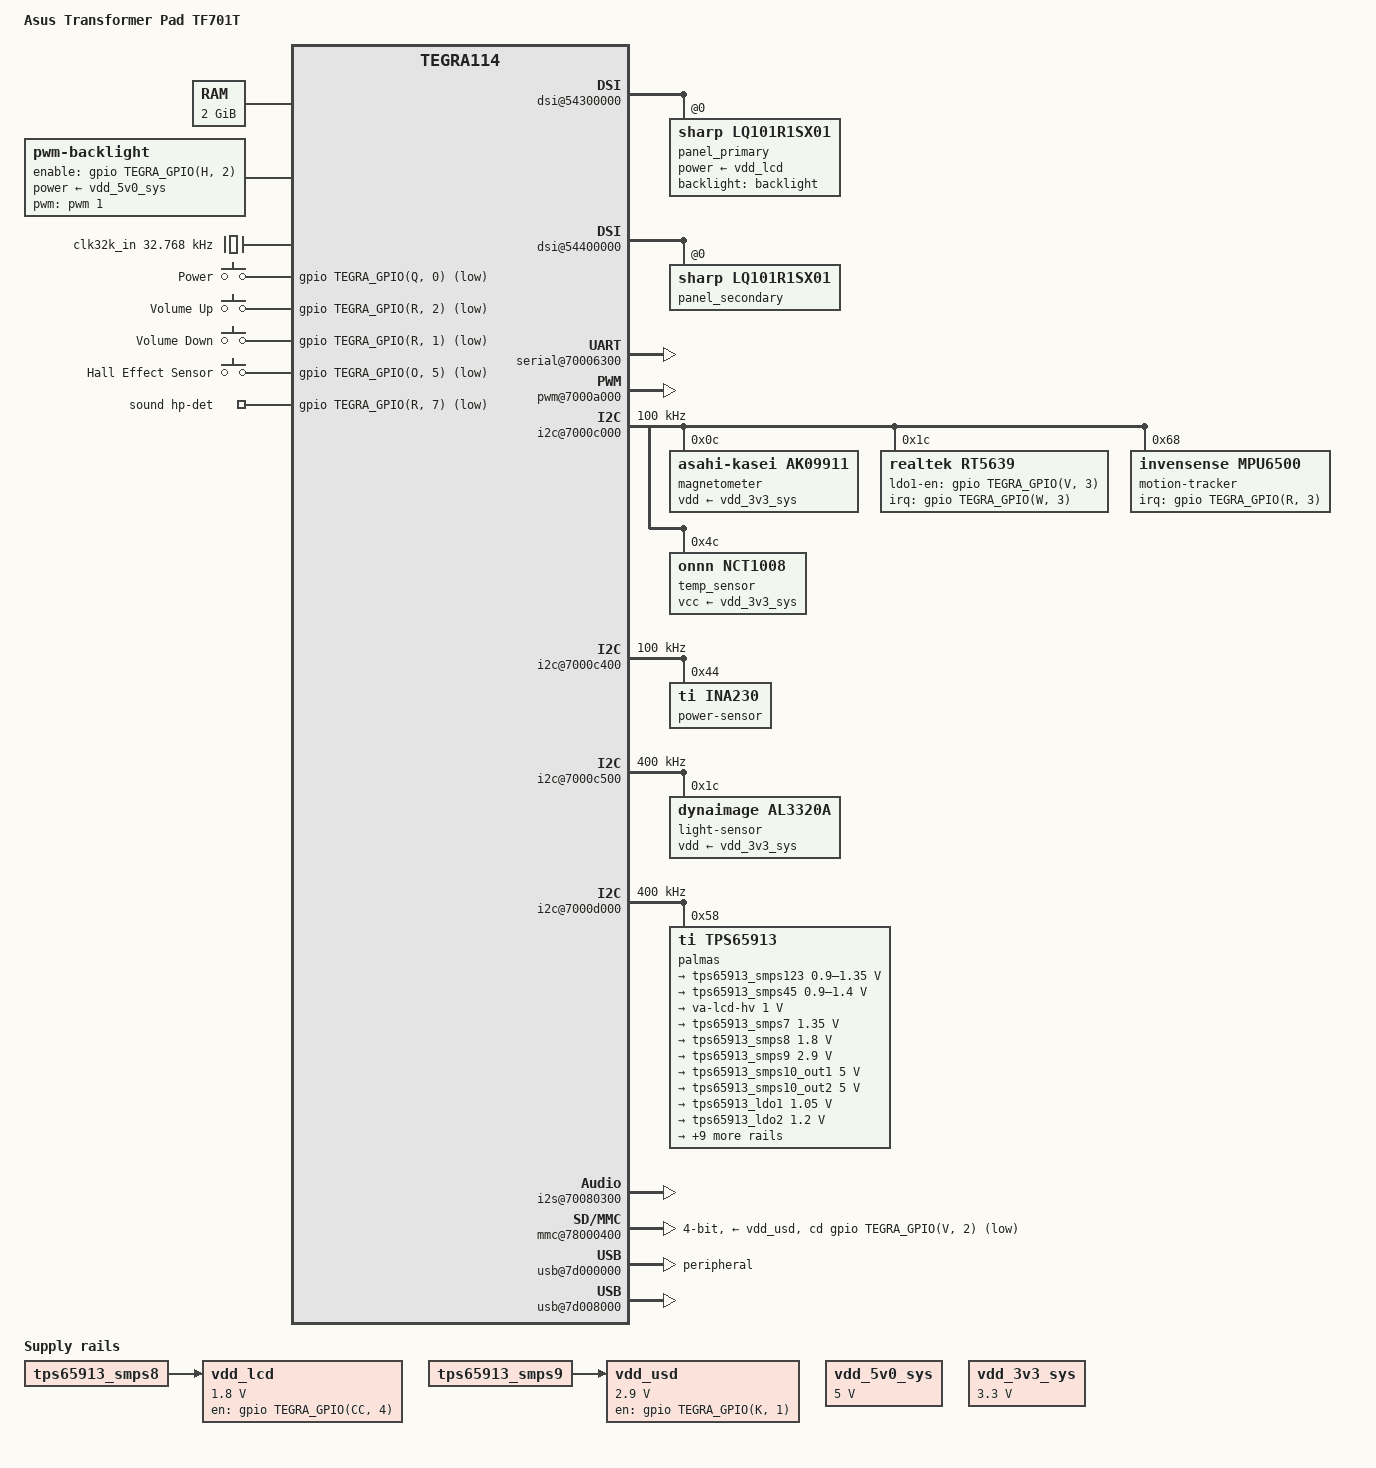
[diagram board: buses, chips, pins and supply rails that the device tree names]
// SPDX-License-Identifier: GPL-2.0

/dts-v1/;

#include <dt-bindings/input/gpio-keys.h>
#include <dt-bindings/input/input.h>

#include "tegra114.dtsi"

/ {
	model = "Asus Transformer Pad TF701T";
	compatible = "asus,tf701t", "nvidia,tegra114";
	chassis-type = "convertible";

	aliases {
		mmc0 = "/mmc@78000600"; /* eMMC */
		mmc1 = "/mmc@78000400"; /* uSD slot */
		mmc2 = "/mmc@78000000"; /* WiFi */

		rtc0 = &palmas;
		rtc1 = "/rtc@7000e000";

		serial0 = &uartd; /* Console */
		serial1 = &uartc; /* Bluetooth */
		serial2 = &uartb; /* GPS */
	};

	memory@80000000 {
		reg = <0x80000000 0x80000000>;
	};

	reserved-memory {
		#address-cells = <1>;
		#size-cells = <1>;
		ranges;

		linux,cma@80000000 {
			compatible = "shared-dma-pool";
			alloc-ranges = <0x80000000 0x30000000>;
			size = <0x10000000>;
			linux,cma-default;
			reusable;
		};

		trustzone@bfe00000 {
			reg = <0xbfe00000 0x200000>;
			no-map;
		};
	};

	host1x@50000000 {
		dsi@54300000 {
			status = "okay";

			avdd-dsi-csi-supply = <&tps65913_ldo2>;

			nvidia,ganged-mode = <&dsib>;

			panel_primary: panel@0 {
				compatible = "sharp,lq101r1sx01";
				reg = <0>;

				link2 = <&panel_secondary>;

				power-supply = <&vdd_lcd>;
				backlight = <&backlight>;
			};
		};

		dsi@54400000 {
			status = "okay";

			avdd-dsi-csi-supply = <&tps65913_ldo2>;

			panel_secondary: panel@0 {
				compatible = "sharp,lq101r1sx01";
				reg = <0>;
			};
		};
	};

	pinmux@70000868 {
		asus_pad_ec_default: asus-pad-ec-default {
			ec-interrupt {
				nvidia,pins = "kb_col5_pq5";
				nvidia,function = "kbc";
				nvidia,pull = <TEGRA_PIN_PULL_UP>;
				nvidia,tristate = <TEGRA_PIN_DISABLE>;
				nvidia,enable-input = <TEGRA_PIN_ENABLE>;
			};

			ec-request {
				nvidia,pins = "kb_col2_pq2";
				nvidia,function = "kbc";
				nvidia,pull = <TEGRA_PIN_PULL_NONE>;
				nvidia,tristate = <TEGRA_PIN_DISABLE>;
				nvidia,enable-input = <TEGRA_PIN_DISABLE>;
			};
		};

		backlight_default: backlight-default {
			backlight-enable {
				nvidia,pins = "gmi_ad10_ph2";
				nvidia,function = "gmi";
				nvidia,pull = <TEGRA_PIN_PULL_NONE>;
				nvidia,tristate = <TEGRA_PIN_DISABLE>;
				nvidia,enable-input = <TEGRA_PIN_DISABLE>;
			};
		};

		codec_default: codec-default {
			ldo1-en {
				nvidia,pins = "sdmmc1_wp_n_pv3";
				nvidia,function = "sdmmc1";
				nvidia,pull = <TEGRA_PIN_PULL_NONE>;
				nvidia,tristate = <TEGRA_PIN_DISABLE>;
				nvidia,enable-input = <TEGRA_PIN_DISABLE>;
			};

			interrupt {
				nvidia,pins = "gpio_w2_aud_pw2",
						"gpio_w3_aud_pw3";
				nvidia,function = "spi6";
				nvidia,pull = <TEGRA_PIN_PULL_UP>;
				nvidia,tristate = <TEGRA_PIN_DISABLE>;
				nvidia,enable-input = <TEGRA_PIN_ENABLE>;
			};
		};

		gpio_keys_default: gpio-keys-default {
			power {
				nvidia,pins = "kb_col0_pq0";
				nvidia,function = "kbc";
				nvidia,pull = <TEGRA_PIN_PULL_UP>;
				nvidia,tristate = <TEGRA_PIN_ENABLE>;
				nvidia,enable-input = <TEGRA_PIN_ENABLE>;
			};

			volume {
				nvidia,pins = "kb_row1_pr1",
						"kb_row2_pr2";
				nvidia,function = "rsvd2";
				nvidia,pull = <TEGRA_PIN_PULL_UP>;
				nvidia,tristate = <TEGRA_PIN_ENABLE>;
				nvidia,enable-input = <TEGRA_PIN_ENABLE>;
			};
		};

		gpio_hall_sensor_default: gpio-hall-sensor-default {
			ulpi_data4_po5 {
				nvidia,pins = "ulpi_data4_po5";
				nvidia,function = "spi2";
				nvidia,pull = <TEGRA_PIN_PULL_UP>;
				nvidia,tristate = <TEGRA_PIN_DISABLE>;
				nvidia,enable-input = <TEGRA_PIN_ENABLE>;
			};
		};

		hp_det_default: hp-det-default {
			gmi_iordy_pi5 {
				nvidia,pins = "kb_row7_pr7";
				nvidia,function = "rsvd2";
				nvidia,pull = <TEGRA_PIN_PULL_UP>;
				nvidia,tristate = <TEGRA_PIN_DISABLE>;
				nvidia,enable-input = <TEGRA_PIN_ENABLE>;
			};
		};

		imu_default: imu-default {
			kb_row3_pr3 {
				nvidia,pins = "kb_row3_pr3";
				nvidia,function = "rsvd3";
				nvidia,pull = <TEGRA_PIN_PULL_DOWN>;
				nvidia,tristate = <TEGRA_PIN_DISABLE>;
				nvidia,enable-input = <TEGRA_PIN_ENABLE>;
			};
		};

		pwm_default: pwm-default {
			gmi_ad9_ph1 {
				nvidia,pins = "gmi_ad9_ph1";
				nvidia,function = "pwm1";
				nvidia,pull = <TEGRA_PIN_PULL_NONE>;
				nvidia,tristate = <TEGRA_PIN_DISABLE>;
				nvidia,enable-input = <TEGRA_PIN_DISABLE>;
			};
		};

		/* XXX make this something more sensible */
		pwm_sleep: pwm-sleep {
			gmi_ad9_ph1 {
				nvidia,pins = "gmi_ad9_ph1";
				nvidia,function = "pwm1";
				nvidia,pull = <TEGRA_PIN_PULL_NONE>;
				nvidia,tristate = <TEGRA_PIN_DISABLE>;
				nvidia,enable-input = <TEGRA_PIN_DISABLE>;
			};
		};

		sdmmc3_default: sdmmc3-default {
			sdmmc3_clk_pa6 {
				nvidia,pins = "sdmmc3_clk_pa6";
				nvidia,function = "sdmmc3";
				nvidia,pull = <TEGRA_PIN_PULL_NONE>;
				nvidia,tristate = <TEGRA_PIN_DISABLE>;
				nvidia,enable-input = <TEGRA_PIN_ENABLE>;
			};

			sdmmc3_cmd_pa7 {
				nvidia,pins = "sdmmc3_cmd_pa7",
						"sdmmc3_dat0_pb7",
						"sdmmc3_dat1_pb6",
						"sdmmc3_dat2_pb5",
						"sdmmc3_dat3_pb4",
						"kb_col4_pq4",
						"sdmmc3_clk_lb_out_pee4",
						"sdmmc3_clk_lb_in_pee5",
						"sdmmc3_cd_n_pv2";
				nvidia,function = "sdmmc3";
				nvidia,pull = <TEGRA_PIN_PULL_UP>;
				nvidia,tristate = <TEGRA_PIN_DISABLE>;
				nvidia,enable-input = <TEGRA_PIN_ENABLE>;
			};

			drive_sdio3 {
				nvidia,pins = "drive_sdio3";
				nvidia,high-speed-mode = <TEGRA_PIN_ENABLE>;
				nvidia,schmitt = <TEGRA_PIN_DISABLE>;
				nvidia,pull-down-strength = <22>;
				nvidia,pull-up-strength = <36>;
				nvidia,slew-rate-rising = <TEGRA_PIN_SLEW_RATE_FASTEST>;
				nvidia,slew-rate-falling = <TEGRA_PIN_SLEW_RATE_FASTEST>;
			};
		};

		sdmmc3_vdd_default: sdmmc3-vdd-default {
			gmi_clk_pk1 {
				nvidia,pins = "gmi_clk_pk1";
				nvidia,function = "gmi";
				nvidia,pull = <TEGRA_PIN_PULL_NONE>;
				nvidia,tristate = <TEGRA_PIN_DISABLE>;
				nvidia,enable-input = <TEGRA_PIN_DISABLE>;
			};
		};

		vdd_lcd_default: vdd-lcd-default {
			sdmmc4_clk_pcc4 {
				nvidia,pins = "sdmmc4_clk_pcc4";
				nvidia,function = "sdmmc4";
				nvidia,pull = <TEGRA_PIN_PULL_NONE>;
				nvidia,tristate = <TEGRA_PIN_DISABLE>;
				nvidia,enable-input = <TEGRA_PIN_DISABLE>;
			};
		};
	};

	serial@70006040 {
		/* GPS */
	};

	serial@70006200 {
		/* Bluetooth */
	};

	serial@70006300 {
		status = "okay";
	};

	pwm@7000a000 {
		status = "okay";

		pinctrl-names = "default", "sleep";
		pinctrl-0 = <&pwm_default>;
		pinctrl-1 = <&pwm_sleep>;
	};

	i2c@7000c000 {
		status = "okay";
		clock-frequency = <100000>;

		magnetometer@c {
			compatible = "asahi-kasei,ak09911";
			reg = <0xc>;

			vdd-supply = <&vdd_3v3_sys>;
		};

		rt5639: audio-codec@1c {
			compatible = "realtek,rt5639";
			reg = <0x1c>;

			interrupt-parent = <&gpio>;
			interrupts = <TEGRA_GPIO(W, 3) IRQ_TYPE_EDGE_FALLING>;

			realtek,ldo1-en-gpios = <&gpio TEGRA_GPIO(V, 3) GPIO_ACTIVE_HIGH>;

			pinctrl-names = "default";
			pinctrl-0 = <&codec_default>;
		};

		motion-tracker@68 {
			compatible = "invensense,mpu6500";
			reg = <0x68>;

			interrupt-parent = <&gpio>;
			interrupts = <TEGRA_GPIO(R, 3) IRQ_TYPE_LEVEL_HIGH>;

			mount-matrix =  "0", "-1", "0",
					"1",  "0", "0",
					"0",  "0", "1";

			pinctrl-names = "default";
			pinctrl-0 = <&imu_default>;
		};

		temp_sensor: temperature-sensor@4c {
			compatible = "onnn,nct1008";
			reg = <0x4c>;

			vcc-supply = <&vdd_3v3_sys>;
			#thermal-sensor-cells = <1>;
		};
	};

	i2c@7000c400 {
		status = "okay";
		clock-frequency = <100000>;

		power-sensor@44 {
			compatible = "ti,ina230";
			reg = <0x44>;
		};
	};

	i2c@7000c500 {
		status = "okay";
		clock-frequency = <400000>;

		light-sensor@1c {
			compatible = "dynaimage,al3320a";
			reg = <0x1c>;

			vdd-supply = <&vdd_3v3_sys>;
		};
	};

	i2c@7000c700 {
		/* HDMI DDC */
	};

	i2c@7000d000 {
		status = "okay";
		clock-frequency = <400000>;

		palmas: pmic@58 {
			compatible = "ti,tps65913", "ti,palmas";
			reg = <0x58>;
			interrupts = <GIC_SPI 86 IRQ_TYPE_LEVEL_HIGH>;

			#interrupt-cells = <2>;
			interrupt-controller;

			ti,system-power-controller;

			palmas_gpio: gpio {
				compatible = "ti,palmas-gpio";
				gpio-controller;
				#gpio-cells = <2>;
			};

			pmic {
				compatible = "ti,tps65913-pmic", "ti,palmas-pmic";

				ldo1-in-supply = <&tps65913_smps7>;
				ldo2-in-supply = <&tps65913_smps7>;
				ldo4-in-supply = <&tps65913_smps8>;
				ldo5-in-supply = <&tps65913_smps9>;
				ldo6-in-supply = <&tps65913_smps9>;
				ldo7-in-supply = <&tps65913_smps9>;
				ldo9-in-supply = <&tps65913_smps9>;

				regulators {
					tps65913_smps123: smps123 {
						regulator-name = "vdd-cpu";
						regulator-min-microvolt = <900000>;
						regulator-max-microvolt = <1350000>;
						regulator-always-on;
						regulator-boot-on;
						ti,roof-floor = <1>;
						ti,mode-sleep = <3>;
					};

					tps65913_smps45: smps45 {
						regulator-name = "vdd-core";
						regulator-min-microvolt = <900000>;
						regulator-max-microvolt = <1400000>;
						regulator-always-on;
						regulator-boot-on;
						ti,roof-floor = <3>;
					};

					smps6 {
						regulator-name = "va-lcd-hv";
						regulator-min-microvolt = <1000000>;
						regulator-max-microvolt = <1000000>;
						regulator-always-on;
						regulator-boot-on;
					};

					tps65913_smps7: smps7 {
						regulator-name = "vdd-ddr";
						regulator-min-microvolt = <1350000>;
						regulator-max-microvolt = <1350000>;
						regulator-always-on;
						regulator-boot-on;
					};

					tps65913_smps8: smps8 {
						regulator-name = "vdd-1v8";
						regulator-min-microvolt = <1800000>;
						regulator-max-microvolt = <1800000>;
						regulator-always-on;
						regulator-boot-on;
					};

					tps65913_smps9: smps9 {
						regulator-name = "vdd-sd";
						regulator-min-microvolt = <2900000>;
						regulator-max-microvolt = <2900000>;
						regulator-always-on;
					};

					tps65913_smps10_out1: smps10_out1 {
						regulator-name = "vd-smps10-out1";
						regulator-min-microvolt = <5000000>;
						regulator-max-microvolt = <5000000>;
						regulator-always-on;
						regulator-boot-on;
					};

					tps65913_smps10_out2: smps10_out2 {
						regulator-name = "vd-smps10-out2";
						regulator-min-microvolt = <5000000>;
						regulator-max-microvolt = <5000000>;
						regulator-always-on;
						regulator-boot-on;
					};

					tps65913_ldo1: ldo1 {
						regulator-name = "vdd-hdmi-pll";
						regulator-min-microvolt = <1050000>;
						regulator-max-microvolt = <1050000>;
						regulator-always-on;
						ti,roof-floor = <3>;
					};

					tps65913_ldo2: ldo2 {
						regulator-name = "vdd-2v8-dsi-csi";
						regulator-min-microvolt = <1200000>;
						regulator-max-microvolt = <1200000>;
						regulator-boot-on;
					};

					ldo3 {
						regulator-name = "vpp-fuse";
						regulator-min-microvolt = <1800000>;
						regulator-max-microvolt = <1800000>;
					};

					ldo4 {
						regulator-name = "vdd-1v2-cam";
						regulator-min-microvolt = <1200000>;
						regulator-max-microvolt = <1200000>;
					};

					ldo5 {
						regulator-name = "vdd-cam";
						regulator-min-microvolt = <2800000>;
						regulator-max-microvolt = <2800000>;
					};

					ldo6 {
						regulator-name = "vdd-dev";
						regulator-min-microvolt = <2850000>;
						regulator-max-microvolt = <2850000>;
						regulator-boot-on;
					};

					ldo7 {
						regulator-name = "vdd-2v8-cam";
						regulator-min-microvolt = <2800000>;
						regulator-max-microvolt = <2800000>;
					};

					tps65913_ldo8: ldo8 {
						regulator-name = "vdd-rtc";
						regulator-min-microvolt = <950000>;
						regulator-max-microvolt = <950000>;
						regulator-always-on;
						regulator-boot-on;
						ti,enable-ldo8-tracking;
					};

					tps65913_ldo9: ldo9 {
						regulator-name = "vdd-sdmmc";
						regulator-min-microvolt = <1800000>;
						regulator-max-microvolt = <2900000>;
					};

					tps65913_ldoln: ldoln {
						regulator-name = "vdd-hdmi";
						regulator-min-microvolt = <3300000>;
						regulator-max-microvolt = <3300000>;
					};

					ldousb {
						regulator-name = "vdd-usb";
						regulator-min-microvolt = <3300000>;
						regulator-max-microvolt = <3300000>;
						regulator-always-on;
						regulator-boot-on;
					};
				};
			};

			rtc {
				compatible = "ti,palmas-rtc";
				interrupt-parent = <&palmas>;
				interrupts = <8 0>;
			};

			pinmux {
				compatible = "ti,tps65913-pinctrl";
				ti,palmas-enable-dvfs1;

				pinctrl-names = "default";
				pinctrl-0 = <&palmas_default>;

				palmas_default: pinmux {
					pin_powergood {
						pins = "powergood";
						function = "powergood";
					};

					pin_vac {
						pins = "vac";
						function = "vac";
					};

					pin_gpio0 {
						pins = "gpio0";
						function = "gpio";
					};

					pin_gpio1 {
						pins = "gpio1";
						function = "gpio";
					};

					pin_gpio2 {
						pins = "gpio2";
						function = "gpio";
					};

					pin_gpio3 {
						pins = "gpio3";
						function = "gpio";
					};

					pin_gpio4 {
						pins = "gpio4";
						function = "gpio";
					};

					pin_gpio5 {
						pins = "gpio5";
						function = "gpio";
					};

					pin_gpio6 {
						pins = "gpio6";
						function = "gpio";
					};

					pin_gpio7 {
						pins = "gpio7";
						function = "gpio";
					};
				};
			};
		};
	};

	ahub@70080000 {
		i2s@70080300 {
			status = "okay";
		};
	};

	mmc@78000000 {
		/* WiFi */
	};

	/* MicroSD card */
	mmc@78000400 {
		status = "okay";

		bus-width = <4>;
		cd-gpios = <&gpio TEGRA_GPIO(V, 2) GPIO_ACTIVE_LOW>;

		nvidia,default-tap = <0x3>;
		nvidia,default-trim = <0x3>;

		vmmc-supply = <&vdd_usd>;
		vqmmc-supply = <&tps65913_ldo9>;

		pinctrl-names = "default";
		pinctrl-0 = <&sdmmc3_default>;
	};

	mmc@78000600 {
		/* eMMC */
	};

	usb@7d000000 {
		compatible = "nvidia,tegra114-udc";
		status = "okay";
		dr_mode = "peripheral";

		/* Peripheral USB via ASUS connector */
	};

	usb-phy@7d000000 {
		status = "okay";
	};

	usb@7d008000 {
		status = "okay";

		/* Host USB via dock */
	};

	usb-phy@7d008000 {
		status = "okay";
		vbus-supply = <&vdd_5v0_sys>;
	};

	backlight: backlight {
		compatible = "pwm-backlight";

		enable-gpios = <&gpio TEGRA_GPIO(H, 2) GPIO_ACTIVE_HIGH>;
		power-supply = <&vdd_5v0_sys>;
		pwms = <&pwm 1 1000000>;

		brightness-levels = <1 255>;
		num-interpolated-steps = <254>;
		default-brightness-level = <224>;

		pinctrl-names = "default";
		pinctrl-0 = <&backlight_default>;
	};

	/* PMIC has a built-in 32KHz oscillator which is used by PMC */
	clk32k_in: clock-32k {
		compatible = "fixed-clock";
		#clock-cells = <0>;
		clock-frequency = <32768>;
		clock-output-names = "pmic-oscillator";
	};

	firmware {
		trusted-foundations {
			compatible = "tlm,trusted-foundations";
			tlm,version-major = <2>;
			tlm,version-minor = <8>;
		};
	};

	gpio-keys {
		compatible = "gpio-keys";

		label = "GPIO Buttons";

		pinctrl-names = "default";
		pinctrl-0 = <&gpio_keys_default>;

		button-power {
			label = "Power";
			gpios = <&gpio TEGRA_GPIO(Q, 0) GPIO_ACTIVE_LOW>;
			linux,code = <KEY_POWER>;
			debounce-interval = <10>;
			wakeup-source;
		};

		button-volume-up {
			label = "Volume Up";
			gpios = <&gpio TEGRA_GPIO(R, 2) GPIO_ACTIVE_LOW>;
			linux,code = <KEY_VOLUMEUP>;
			debounce-interval = <10>;
		};

		button-volume-down {
			label = "Volume Down";
			gpios = <&gpio TEGRA_GPIO(R, 1) GPIO_ACTIVE_LOW>;
			linux,code = <KEY_VOLUMEDOWN>;
			debounce-interval = <10>;
		};
	};

	gpio-hall-sensor {
		compatible = "gpio-keys";

		label = "GPIO Hall Effect Sensor";

		pinctrl-names = "default";
		pinctrl-0 = <&gpio_hall_sensor_default>;

		switch-hall-sensor {
			label = "Hall Effect Sensor";
			gpios = <&gpio TEGRA_GPIO(O, 5) GPIO_ACTIVE_LOW>;
			linux,input-type = <EV_SW>;
			linux,code = <SW_LID>;
			linux,can-disable;
			wakeup-source;
		};
	};

	sound {
		compatible = "asus,tegra-audio-rt5639-tf701t",
			     "nvidia,tegra-audio-rt5640";
		nvidia,model = "Asus Transformer Pad TF701T RT5639";

		nvidia,audio-routing =
			"Headphones", "HPOR",
			"Headphones", "HPOL",
			"Speakers", "SPORP",
			"Speakers", "SPORN",
			"Speakers", "SPOLP",
			"Speakers", "SPOLN",
			"Mic Jack", "MICBIAS1",
			"IN2P", "Mic Jack";

		nvidia,i2s-controller = <&tegra_i2s0>;
		nvidia,audio-codec = <&rt5639>;

		nvidia,hp-det-gpios = <&gpio TEGRA_GPIO(R, 7) GPIO_ACTIVE_LOW>;

		clocks = <&tegra_car TEGRA114_CLK_PLL_A>,
			 <&tegra_car TEGRA114_CLK_PLL_A_OUT0>,
			 <&tegra_pmc TEGRA_PMC_CLK_OUT_1>;
		clock-names = "pll_a", "pll_a_out0", "mclk";

		assigned-clocks = <&tegra_car TEGRA114_CLK_EXTERN1>,
				  <&tegra_pmc TEGRA_PMC_CLK_OUT_1>;

		assigned-clock-parents = <&tegra_car TEGRA114_CLK_PLL_A_OUT0>,
					 <&tegra_car TEGRA114_CLK_EXTERN1>;

		pinctrl-names = "default";
		pinctrl-0 = <&hp_det_default>;
	};

	vdd_5v0_sys: regulator-5v0-sys {
		compatible = "regulator-fixed";
		regulator-name = "vdd_5v0";
		regulator-min-microvolt = <5000000>;
		regulator-max-microvolt = <5000000>;
		regulator-always-on;
		regulator-boot-on;
	};

	vdd_3v3_sys: regulator-3v3-sys {
		compatible = "regulator-fixed";
		regulator-name = "vdd_3v3";
		regulator-min-microvolt = <3300000>;
		regulator-max-microvolt = <3300000>;
		regulator-always-on;
		regulator-boot-on;
	};

	vdd_lcd: regulator-vdd-lcd {
		compatible = "regulator-fixed";
		regulator-name = "vdd_lcd_1v8";
		regulator-min-microvolt = <1800000>;
		regulator-max-microvolt = <1800000>;
		vin-supply = <&tps65913_smps8>;
		enable-active-high;
		gpio = <&gpio TEGRA_GPIO(CC, 4) GPIO_ACTIVE_HIGH>;
		regulator-boot-on;

		pinctrl-names = "default";
		pinctrl-0 = <&vdd_lcd_default>;
	};

	vdd_usd: regulator-vdd-usd {
		compatible = "regulator-fixed";
		regulator-name = "vdd_sd_slot";
		regulator-min-microvolt = <2900000>;
		regulator-max-microvolt = <2900000>;
		vin-supply = <&tps65913_smps9>;
		enable-active-high;
		gpio = <&gpio TEGRA_GPIO(K, 1) GPIO_ACTIVE_HIGH>;

		pinctrl-names = "default";
		pinctrl-0 = <&sdmmc3_vdd_default>;
	};
};
